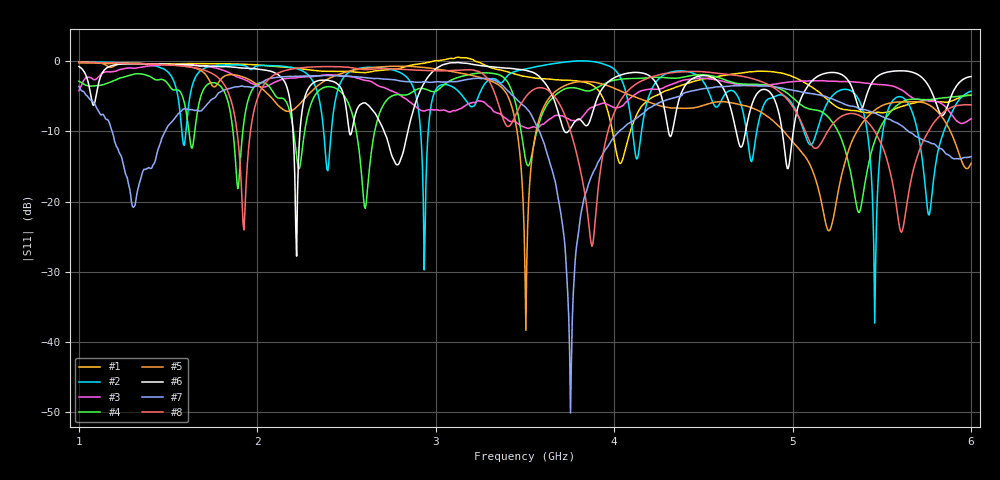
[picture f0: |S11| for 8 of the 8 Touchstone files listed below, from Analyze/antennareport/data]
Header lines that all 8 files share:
!Agilent Technologies,E8364B,MY43040633,A.07.50.37
!Agilent E8364B: A.07.50.37
!Correction: S11(Full 1 Port(1))
!S1P File: Measurement: S11:
# Hz S  RI  R 50
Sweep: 1 GHz to 6 GHz
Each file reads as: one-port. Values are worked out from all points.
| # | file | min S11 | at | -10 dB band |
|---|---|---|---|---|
| 1 | Alex.s1p | -14.6 dB | 4.035 GHz | 100.2 MHz wide |
| 2 | Elim.s1p | -37.3 dB | 5.46 GHz | 147.1 MHz wide |
| 3 | Ethan.s1p | -9.6 dB | 3.52 GHz | - |
| 4 | Jaden.s1p | -21.6 dB | 5.37 GHz | 227.1 MHz wide |
| 5 | Luis.s1p | -38.3 dB | 3.505 GHz | 409.8 MHz wide |
| 6 | Saul.s1p | -27.8 dB | 2.22 GHz | 133.4 MHz wide |
| 7 | Sean.s1p | -50.1 dB | 3.755 GHz | 447.9 MHz wide |
| 8 | Theo.s1p | -26.4 dB | 3.875 GHz | 300.8 MHz wide |
